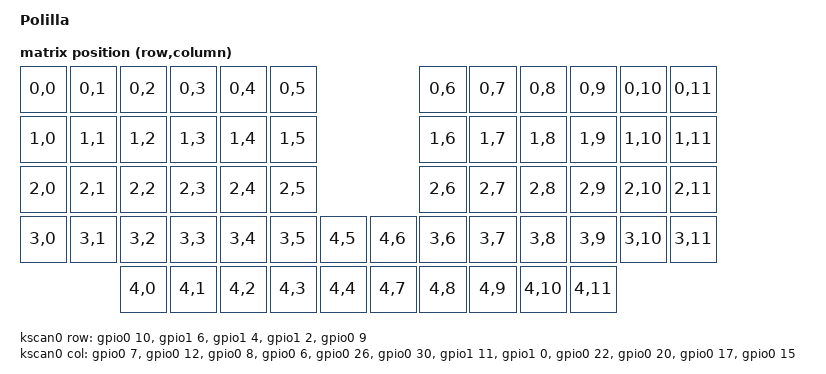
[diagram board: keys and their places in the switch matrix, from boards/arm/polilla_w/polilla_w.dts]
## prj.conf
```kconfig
CONFIG_ZMK_USB_LOGGING=y
CONFIG_LOG_BUFFER_SIZE=8192
```

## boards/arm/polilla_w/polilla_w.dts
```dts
/*
 * Copyright (c) 2020 The ZMK Contributors
 * SPDX-License-Identifier: MIT
 */

/dts-v1/;
#include <nordic/nrf52840_qiaa.dtsi>
#include <dt-bindings/zmk/matrix_transform.h>

/ {
	model = "Polilla";

	chosen {
		zephyr,code-partition = &code_partition;
		zephyr,sram = &sram0;
		zephyr,flash = &flash0;
		zmk,kscan = &kscan0;
		zmk,matrix_transform = &default_transform;
	};

	default_transform: keymap_transform_0 {
		compatible = "zmk,matrix-transform";
		columns = <12>;
		rows = <5>;
		map = <
RC(0,0) RC(0,1) RC(0,2) RC(0,3) RC(0,4) RC(0,5)                 RC(0,6) RC(0,7) RC(0,8) RC(0,9) RC(0,10) RC(0,11)
RC(1,0) RC(1,1) RC(1,2) RC(1,3) RC(1,4) RC(1,5)                 RC(1,6) RC(1,7) RC(1,8) RC(1,9) RC(1,10) RC(1,11)
RC(2,0) RC(2,1) RC(2,2) RC(2,3) RC(2,4) RC(2,5)                 RC(2,6) RC(2,7) RC(2,8) RC(2,9) RC(2,10) RC(2,11)
RC(3,0) RC(3,1) RC(3,2) RC(3,3) RC(3,4) RC(3,5) RC(4,5) RC(4,6) RC(3,6) RC(3,7) RC(3,8) RC(3,9) RC(3,10) RC(3,11)
            	RC(4,0) RC(4,1) RC(4,2) RC(4,3) RC(4,4) RC(4,7) RC(4,8) RC(4,9) RC(4,10) RC(4,11)
		>;
	};

	kscan0: kscan {
		compatible = "zmk,kscan-gpio-matrix";
		label = "KSCAN";
		diode-direction = "row2col";
		row-gpios
			= <&gpio0 10 GPIO_ACTIVE_HIGH>
			, <&gpio1 6  GPIO_ACTIVE_HIGH>
			, <&gpio1 4  GPIO_ACTIVE_HIGH>
			, <&gpio1 2  GPIO_ACTIVE_HIGH>
			, <&gpio0 9  GPIO_ACTIVE_HIGH>
			;
		col-gpios
			= <&gpio0 7  (GPIO_ACTIVE_HIGH | GPIO_PULL_DOWN)>
			, <&gpio0 12 (GPIO_ACTIVE_HIGH | GPIO_PULL_DOWN)>
			, <&gpio0 8  (GPIO_ACTIVE_HIGH | GPIO_PULL_DOWN)>
			, <&gpio0 6  (GPIO_ACTIVE_HIGH | GPIO_PULL_DOWN)>
			, <&gpio0 26 (GPIO_ACTIVE_HIGH | GPIO_PULL_DOWN)>
			, <&gpio0 30 (GPIO_ACTIVE_HIGH | GPIO_PULL_DOWN)>
			, <&gpio1 11 (GPIO_ACTIVE_HIGH | GPIO_PULL_DOWN)>
			, <&gpio1 0  (GPIO_ACTIVE_HIGH | GPIO_PULL_DOWN)>
			, <&gpio0 22 (GPIO_ACTIVE_HIGH | GPIO_PULL_DOWN)>
			, <&gpio0 20 (GPIO_ACTIVE_HIGH | GPIO_PULL_DOWN)>
			, <&gpio0 17 (GPIO_ACTIVE_HIGH | GPIO_PULL_DOWN)>
			, <&gpio0 15 (GPIO_ACTIVE_HIGH | GPIO_PULL_DOWN)>
			;
	};

	vbatt {
		compatible = "zmk,battery-voltage-divider";
		label = "BATTERY";
		io-channels = <&adc 2>;
		output-ohms = <2000000>;
		full-ohms = <(2000000 + 820000)>;
	};
};

&adc {
	status = "okay";
};

&gpiote {
	status = "okay";
};

&gpio0 {
	status = "okay";
};

&gpio1 {
	status = "okay";
};

&uart0 {
	compatible = "nordic,nrf-uarte";
	status = "okay";
	current-speed = <115200>;
	tx-pin = <19>;
	rx-pin = <21>;
	rts-pin = <23>;
	cts-pin = <25>;
};

&usbd {
	compatible = "nordic,nrf-usbd";
	status = "okay";
};


&flash0 {
	/*
	 * For more information, see:
	 * http://docs.zephyrproject.org/latest/devices/dts/flash_partitions.html
	 */
	partitions {
		compatible = "fixed-partitions";
		#address-cells = <1>;
		#size-cells = <1>;

		sd_partition: partition@0 {
			label = "softdevice";
			reg = <0x00000000 0x00026000>;
		};
		code_partition: partition@26000 {
			label = "code_partition";
			reg = <0x00026000 0x000c6000>;
		};

		/*
		 * The flash starting at 0x000ec000 and ending at
		 * 0x000f3fff is reserved for use by the application.
		 */

		/*
		 * Storage partition will be used by FCB/LittleFS/NVS
		 * if enabled.
		 */
		storage_partition: partition@ec000 {
			label = "storage";
			reg = <0x000ec000 0x00008000>;
		};

		boot_partition: partition@f4000 {
			label = "adafruit_boot";
			reg = <0x000f4000 0x0000c000>;
		};
	};
};
```

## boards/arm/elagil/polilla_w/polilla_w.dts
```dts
/*
 * Copyright (c) 2020 The ZMK Contributors
 * SPDX-License-Identifier: MIT
 */

/dts-v1/;
#include <nordic/nrf52840_qiaa.dtsi>

/ {
	model = "Polilla wireless";
	compatible = "elagil";

	chosen {
		zephyr,code-partition = &code_partition;
		zephyr,sram = &sram0;
		zephyr,flash = &flash0;
	};

	default_transform: keymap_transform_0 {
		compatible = "zmk,matrix-transform";
		columns = <12>;
		rows = <5>;
		map = <
RC(0,0) RC(0,1) RC(0,2) RC(0,3) RC(0,4) RC(0,5)                 RC(0,6) RC(0,7) RC(0,8) RC(0,9) RC(0,10) RC(0,11)
RC(1,0) RC(1,1) RC(1,2) RC(1,3) RC(1,4) RC(1,5)                 RC(1,6) RC(1,7) RC(1,8) RC(1,9) RC(1,10) RC(1,11)
RC(2,0) RC(2,1) RC(2,2) RC(2,3) RC(2,4) RC(2,5)                 RC(2,6) RC(2,7) RC(2,8) RC(2,9) RC(2,10) RC(2,11)
RC(3,0) RC(3,1) RC(3,2) RC(3,3) RC(3,4) RC(3,5) RC(4,5) RC(4,6) RC(3,6) RC(3,7) RC(3,8) RC(3,9) RC(3,10) RC(3,11)
            	RC(4,0) RC(4,1) RC(4,2) RC(4,3) RC(4,4) RC(4,7) RC(4,8) RC(4,9) RC(4,10) RC(4,11)
		>;
	};

	kscan0: kscan {
		compatible = "zmk,kscan-gpio-matrix";
		label = "KSCAN";
		diode-direction = "row2col";
		row-gpios
			= <&gpio0 9  GPIO_ACTIVE_HIGH>
			, <&gpio1 2  GPIO_ACTIVE_HIGH>
			, <&gpio1 4  GPIO_ACTIVE_HIGH>
			, <&gpio1 6  GPIO_ACTIVE_HIGH>
			, <&gpio1 10 GPIO_ACTIVE_HIGH>
			;
		col-gpios
			= <&gpio0 15 (GPIO_ACTIVE_HIGH | GPIO_PULL_DOWN)>
			, <&gpio0 17 (GPIO_ACTIVE_HIGH | GPIO_PULL_DOWN)>
			, <&gpio0 20 (GPIO_ACTIVE_HIGH | GPIO_PULL_DOWN)>
			, <&gpio0 22 (GPIO_ACTIVE_HIGH | GPIO_PULL_DOWN)>
			, <&gpio1 0  (GPIO_ACTIVE_HIGH | GPIO_PULL_DOWN)>
			, <&gpio1 11 (GPIO_ACTIVE_HIGH | GPIO_PULL_DOWN)>
			, <&gpio0 30 (GPIO_ACTIVE_HIGH | GPIO_PULL_DOWN)>
			, <&gpio0 26 (GPIO_ACTIVE_HIGH | GPIO_PULL_DOWN)>
			, <&gpio0 6  (GPIO_ACTIVE_HIGH | GPIO_PULL_DOWN)>
			, <&gpio0 8  (GPIO_ACTIVE_HIGH | GPIO_PULL_DOWN)>
			, <&gpio0 12 (GPIO_ACTIVE_HIGH | GPIO_PULL_DOWN)>
			, <&gpio0 7  (GPIO_ACTIVE_HIGH | GPIO_PULL_DOWN)>
			;
	};

	vbatt {
		compatible = "zmk,battery-voltage-divider";
		label = "BATTERY";
		io-channels = <&adc 2>;
		output-ohms = <100000>;
		full-ohms = <(100000 + 100000)>;
	};
};

&adc {
	status = "okay";
};

&gpiote {
	status = "okay";
};

&gpio0 {
	status = "okay";
};

&gpio1 {
	status = "okay";
};

&uart0 {
	compatible = "nordic,nrf-uarte";
	status = "okay";
	current-speed = <115200>;
	tx-pin = <19>;
	rx-pin = <21>;
	rts-pin = <23>;
	cts-pin = <25>;
};

&usbd {
	compatible = "nordic,nrf-usbd";
	status = "okay";
};


&flash0 {
	/*
	 * For more information, see:
	 * http://docs.zephyrproject.org/latest/devices/dts/flash_partitions.html
	 */
	partitions {
		compatible = "fixed-partitions";
		#address-cells = <1>;
		#size-cells = <1>;

		sd_partition: partition@0 {
			label = "softdevice";
			reg = <0x00000000 0x00026000>;
		};
		code_partition: partition@26000 {
			label = "code_partition";
			reg = <0x00026000 0x000c6000>;
		};

		/*
		 * The flash starting at 0x000ec000 and ending at
		 * 0x000f3fff is reserved for use by the application.
		 */

		/*
		 * Storage partition will be used by FCB/LittleFS/NVS
		 * if enabled.
		 */
		storage_partition: partition@ec000 {
			label = "storage";
			reg = <0x000ec000 0x00008000>;
		};

		boot_partition: partition@f4000 {
			label = "adafruit_boot";
			reg = <0x000f4000 0x0000c000>;
		};
	};
};
```

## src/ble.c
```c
/*
 * Copyright (c) 2020 The ZMK Contributors
 *
 * SPDX-License-Identifier: MIT
 */

#include <device.h>
#include <init.h>

#include <math.h>
#include <stdlib.h>
#include <stdio.h>

#include <settings/settings.h>
#include <bluetooth/bluetooth.h>
#include <bluetooth/conn.h>
#include <bluetooth/hci.h>
#include <bluetooth/uuid.h>
#include <bluetooth/gatt.h>
#include <bluetooth/hci_err.h>

#if IS_ENABLED(CONFIG_SETTINGS)

#include <settings/settings.h>

#endif

#include <logging/log.h>

LOG_MODULE_DECLARE(zmk, CONFIG_ZMK_LOG_LEVEL);

#include <zmk/ble.h>
#include <zmk/keys.h>
#include <zmk/split/bluetooth/uuid.h>
#include <zmk/event_manager.h>
#include <zmk/events/ble_active_profile_changed.h>

static struct bt_conn *auth_passkey_entry_conn;
static uint8_t passkey_entries[6] = {0, 0, 0, 0, 0, 0};
static uint8_t passkey_digit = 0;

#if IS_ENABLED(CONFIG_ZMK_SPLIT_BLE_ROLE_CENTRAL)
#define PROFILE_COUNT (CONFIG_BT_MAX_PAIRED - 1)
#else
#define PROFILE_COUNT CONFIG_BT_MAX_PAIRED
#endif

enum advertising_type {
    ZMK_ADV_NONE,
    ZMK_ADV_DIR,
    ZMK_ADV_CONN,
} advertising_status;

#define CURR_ADV(adv) (adv << 4)

#define ZMK_ADV_CONN_NAME                                                                          \
    BT_LE_ADV_PARAM(BT_LE_ADV_OPT_CONNECTABLE | BT_LE_ADV_OPT_ONE_TIME, BT_GAP_ADV_FAST_INT_MIN_2, \
                    BT_GAP_ADV_FAST_INT_MAX_2, NULL)

static struct zmk_ble_profile profiles[PROFILE_COUNT];
static uint8_t active_profile;

#define DEVICE_NAME CONFIG_BT_DEVICE_NAME
#define DEVICE_NAME_LEN (sizeof(DEVICE_NAME) - 1)

#define IS_HOST_PERIPHERAL                                                                         \
    (!IS_ENABLED(CONFIG_ZMK_SPLIT) || IS_ENABLED(CONFIG_ZMK_SPLIT_BLE_ROLE_CENTRAL))
#define IS_SPLIT_PERIPHERAL                                                                        \
    (IS_ENABLED(CONFIG_ZMK_SPLIT) && !IS_ENABLED(CONFIG_ZMK_SPLIT_BLE_ROLE_CENTRAL))

static const struct bt_data zmk_ble_ad[] = {
#if IS_HOST_PERIPHERAL
    BT_DATA(BT_DATA_NAME_COMPLETE, DEVICE_NAME, DEVICE_NAME_LEN),
    BT_DATA_BYTES(BT_DATA_GAP_APPEARANCE, 0xC1, 0x03),
#endif
    BT_DATA_BYTES(BT_DATA_FLAGS, (BT_LE_AD_GENERAL | BT_LE_AD_NO_BREDR)),
    BT_DATA_BYTES(BT_DATA_UUID16_SOME,
#if IS_HOST_PERIPHERAL
                  0x12, 0x18, /* HID Service */
#endif
                  0x0f, 0x18 /* Battery Service */
                  ),
#if IS_SPLIT_PERIPHERAL
    BT_DATA_BYTES(BT_DATA_UUID128_ALL, ZMK_SPLIT_BT_SERVICE_UUID)
#endif
};

#if IS_ENABLED(CONFIG_ZMK_SPLIT_BLE_ROLE_CENTRAL)

static bt_addr_le_t peripheral_addr;

#endif /* IS_ENABLED(CONFIG_ZMK_SPLIT_BLE_ROLE_CENTRAL) */

static void raise_profile_changed_event() {
    struct ble_active_profile_changed *ev = new_ble_active_profile_changed();
    ev->index = active_profile;
    ev->profile = &profiles[active_profile];

    ZMK_EVENT_RAISE(ev);
}

static void raise_profile_changed_event_callback(struct k_work *work) {
    raise_profile_changed_event();
}

K_WORK_DEFINE(raise_profile_changed_event_work, raise_profile_changed_event_callback);

bool zmk_ble_active_profile_is_open() {
    return !bt_addr_le_cmp(&profiles[active_profile].peer, BT_ADDR_LE_ANY);
}

void set_profile_address(uint8_t index, const bt_addr_le_t *addr) {
    char setting_name[15];
    char addr_str[BT_ADDR_LE_STR_LEN];

    bt_addr_le_to_str(addr, addr_str, sizeof(addr_str));

    memcpy(&profiles[index].peer, addr, sizeof(bt_addr_le_t));
    sprintf(setting_name, "ble/profiles/%d", index);
    LOG_DBG("Setting profile addr for %s to %s", log_strdup(setting_name), log_strdup(addr_str));
    settings_save_one(setting_name, &profiles[index], sizeof(struct zmk_ble_profile));
    k_work_submit(&raise_profile_changed_event_work);
}

bool zmk_ble_active_profile_is_connected() {
    struct bt_conn *conn;
    bt_addr_le_t *addr = zmk_ble_active_profile_addr();
    if (!bt_addr_le_cmp(addr, BT_ADDR_LE_ANY)) {
        return false;
    } else if ((conn = bt_conn_lookup_addr_le(BT_ID_DEFAULT, addr)) == NULL) {
        return false;
    }

    bt_conn_unref(conn);

    return true;
}

#define CHECKED_ADV_STOP()                                                                         \
    err = bt_le_adv_stop();                                                                        \
    advertising_status = ZMK_ADV_NONE;                                                             \
    if (err) {                                                                                     \
        LOG_ERR("Failed to stop advertising (err %d)", err);                                       \
        return err;                                                                                \
    }

#define CHECKED_DIR_ADV()                                                                          \
    addr = zmk_ble_active_profile_addr();                                                          \
    conn = bt_conn_lookup_addr_le(BT_ID_DEFAULT, addr);                                            \
    if (conn != NULL) { /* TODO: Check status of connection */                                     \
        LOG_DBG("Skipping advertising, profile host is already connected");                        \
        bt_conn_unref(conn);                                                                       \
        return 0;                                                                                  \
    }                                                                                              \
    err = bt_le_adv_start(BT_LE_ADV_CONN_DIR_LOW_DUTY(addr), zmk_ble_ad, ARRAY_SIZE(zmk_ble_ad),   \
                          NULL, 0);                                                                \
    if (err) {                                                                                     \
        LOG_ERR("Advertising failed to start (err %d)", err);                                      \
        return err;                                                                                \
    }                                                                                              \
    advertising_status = ZMK_ADV_DIR;

#define CHECKED_OPEN_ADV()                                                                         \
    err = bt_le_adv_start(ZMK_ADV_CONN_NAME, zmk_ble_ad, ARRAY_SIZE(zmk_ble_ad), NULL, 0);         \
    if (err) {                                                                                     \
        LOG_ERR("Advertising failed to start (err %d)", err);                                      \
        return err;                                                                                \
    }                                                                                              \
    advertising_status = ZMK_ADV_CONN;

int update_advertising() {
    int err = 0;
    bt_addr_le_t *addr;
    struct bt_conn *conn;
    enum advertising_type desired_adv = ZMK_ADV_NONE;

    if (zmk_ble_active_profile_is_open()) {
        desired_adv = ZMK_ADV_CONN;
    } else if (!zmk_ble_active_profile_is_connected()) {
        desired_adv = ZMK_ADV_CONN;
        // Need to fix directed advertising for privacy centrals. See
        // https://github.com/zephyrproject-rtos/zephyr/pull/14984 char
        // addr_str[BT_ADDR_LE_STR_LEN]; bt_addr_le_to_str(zmk_ble_active_profile_addr(), addr_str,
        // sizeof(addr_str));

        // LOG_DBG("Directed advertising to %s", log_strdup(addr_str));
        // desired_adv = ZMK_ADV_DIR;
    }
    LOG_DBG("advertising from %d to %d", advertising_status, desired_adv);

    switch (desired_adv + CURR_ADV(advertising_status)) {
    case ZMK_ADV_NONE + CURR_ADV(ZMK_ADV_DIR):
    case ZMK_ADV_NONE + CURR_ADV(ZMK_ADV_CONN):
        CHECKED_ADV_STOP();
        break;
    case ZMK_ADV_DIR + CURR_ADV(ZMK_ADV_DIR):
    case ZMK_ADV_DIR + CURR_ADV(ZMK_ADV_CONN):
        CHECKED_ADV_STOP();
        CHECKED_DIR_ADV();
        break;
    case ZMK_ADV_DIR + CURR_ADV(ZMK_ADV_NONE):
        CHECKED_DIR_ADV();
        break;
    case ZMK_ADV_CONN + CURR_ADV(ZMK_ADV_DIR):
        CHECKED_ADV_STOP();
        CHECKED_OPEN_ADV();
        break;
    case ZMK_ADV_CONN + CURR_ADV(ZMK_ADV_NONE):
        CHECKED_OPEN_ADV();
        break;
    }

    return 0;
};

static void update_advertising_callback(struct k_work *work) { update_advertising(); }

K_WORK_DEFINE(update_advertising_work, update_advertising_callback);

int zmk_ble_clear_bonds() {
    LOG_DBG("");

    if (bt_addr_le_cmp(&profiles[active_profile].peer, BT_ADDR_LE_ANY)) {
        LOG_DBG("Unpairing!");
        bt_unpair(BT_ID_DEFAULT, &profiles[active_profile].peer);
        set_profile_address(active_profile, BT_ADDR_LE_ANY);
    }

    update_advertising();

    return 0;
};

int zmk_ble_active_profile_index() { return active_profile; }

#if IS_ENABLED(CONFIG_SETTINGS)
static void ble_save_profile_work(struct k_work *work) {
    settings_save_one("ble/active_profile", &active_profile, sizeof(active_profile));
}

static struct k_delayed_work ble_save_work;
#endif

static int ble_save_profile() {
#if IS_ENABLED(CONFIG_SETTINGS)
    k_delayed_work_cancel(&ble_save_work);
    return k_delayed_work_submit(&ble_save_work, K_MSEC(CONFIG_ZMK_SETTINGS_SAVE_DEBOUNCE));
#else
    return 0;
#endif
}

int zmk_ble_prof_select(uint8_t index) {
    LOG_DBG("profile %d", index);
    if (active_profile == index) {
        return 0;
    }

    active_profile = index;
    ble_save_profile();

    update_advertising();

    raise_profile_changed_event();

    return 0;
};

int zmk_ble_prof_next() {
    LOG_DBG("");
    return zmk_ble_prof_select((active_profile + 1) % PROFILE_COUNT);
};

int zmk_ble_prof_prev() {
    LOG_DBG("");
    return zmk_ble_prof_select((active_profile + PROFILE_COUNT - 1) % PROFILE_COUNT);
};

bt_addr_le_t *zmk_ble_active_profile_addr() { return &profiles[active_profile].peer; }

char *zmk_ble_active_profile_name() { return profiles[active_profile].name; }

#if IS_ENABLED(CONFIG_ZMK_SPLIT_BLE_ROLE_CENTRAL)

void zmk_ble_set_peripheral_addr(bt_addr_le_t *addr) {
    memcpy(&peripheral_addr, addr, sizeof(bt_addr_le_t));
    settings_save_one("ble/peripheral_address", addr, sizeof(bt_addr_le_t));
}

#endif /* IS_ENABLED(CONFIG_ZMK_SPLIT_BLE_ROLE_CENTRAL) */

#if IS_ENABLED(CONFIG_SETTINGS)

static int ble_profiles_handle_set(const char *name, size_t len, settings_read_cb read_cb,
                                   void *cb_arg) {
    const char *next;

    LOG_DBG("Setting BLE value %s", log_strdup(name));

    if (settings_name_steq(name, "profiles", &next) && next) {
        char *endptr;
        uint8_t idx = strtoul(next, &endptr, 10);
        if (*endptr != '\0') {
            LOG_WRN("Invalid profile index: %s", log_strdup(next));
            return -EINVAL;
        }

        if (len != sizeof(struct zmk_ble_profile)) {
            LOG_ERR("Invalid profile size (got %d expected %d)", len,
                    sizeof(struct zmk_ble_profile));
            return -EINVAL;
        }

        if (idx >= PROFILE_COUNT) {
            LOG_WRN("Profile address for index %d is larger than max of %d", idx, PROFILE_COUNT);
            return -EINVAL;
        }

        int err = read_cb(cb_arg, &profiles[idx], sizeof(struct zmk_ble_profile));
        if (err <= 0) {
            LOG_ERR("Failed to handle profile address from settings (err %d)", err);
            return err;
        }

        char addr_str[BT_ADDR_LE_STR_LEN];
        bt_addr_le_to_str(&profiles[idx].peer, addr_str, sizeof(addr_str));

        LOG_DBG("Loaded %s address for profile %d", log_strdup(addr_str), idx);
    } else if (settings_name_steq(name, "active_profile", &next) && !next) {
        if (len != sizeof(active_profile)) {
            return -EINVAL;
        }

        int err = read_cb(cb_arg, &active_profile, sizeof(active_profile));
        if (err <= 0) {
            LOG_ERR("Failed to handle active profile from settings (err %d)", err);
            return err;
        }
    }
#if IS_ENABLED(CONFIG_ZMK_SPLIT_BLE_ROLE_CENTRAL)
    else if (settings_name_steq(name, "peripheral_address", &next) && !next) {
        if (len != sizeof(bt_addr_le_t)) {
            return -EINVAL;
        }

        int err = read_cb(cb_arg, &peripheral_addr, sizeof(bt_addr_le_t));
        if (err <= 0) {
            LOG_ERR("Failed to handle peripheral address from settings (err %d)", err);
            return err;
        }
    }
#endif

    return 0;
};

struct settings_handler profiles_handler = {.name = "ble", .h_set = ble_profiles_handle_set};
#endif /* IS_ENABLED(CONFIG_SETTINGS) */

static bool is_conn_active_profile(const struct bt_conn *conn) {
    return bt_addr_le_cmp(bt_conn_get_dst(conn), &profiles[active_profile].peer) == 0;
}

static void connected(struct bt_conn *conn, uint8_t err) {
    char addr[BT_ADDR_LE_STR_LEN];
    bt_addr_le_to_str(bt_conn_get_dst(conn), addr, sizeof(addr));
    LOG_DBG("Connected thread: %p", k_current_get());

    advertising_status = ZMK_ADV_NONE;

    if (err) {
        LOG_WRN("Failed to connect to %s (%u)", log_strdup(addr), err);
        update_advertising();
        return;
    }

    LOG_DBG("Connected %s", log_strdup(addr));

    err = bt_conn_le_param_update(conn, BT_LE_CONN_PARAM(0x0006, 0x000c, 30, 400));
    if (err) {
        LOG_WRN("Failed to update LE parameters (err %d)", err);
    }

#if IS_SPLIT_PERIPHERAL
    bt_conn_le_phy_update(conn, BT_CONN_LE_PHY_PARAM_2M);
#endif

    if (bt_conn_set_security(conn, BT_SECURITY_L2)) {
        LOG_ERR("Failed to set security");
    }

    update_advertising();

    if (is_conn_active_profile(conn)) {
        LOG_DBG("Active profile connected");
        k_work_submit(&raise_profile_changed_event_work);
    }
}

static void disconnected(struct bt_conn *conn, uint8_t reason) {
    char addr[BT_ADDR_LE_STR_LEN];

    bt_addr_le_to_str(bt_conn_get_dst(conn), addr, sizeof(addr));

    LOG_DBG("Disconnected from %s (reason 0x%02x)", log_strdup(addr), reason);

    // We need to do this in a work callback, otherwise the advertising update will still see the
    // connection for a profile as active, and not start advertising yet.
    k_work_submit(&update_advertising_work);

    if (is_conn_active_profile(conn)) {
        LOG_DBG("Active profile disconnected");
        k_work_submit(&raise_profile_changed_event_work);
    }
}

static void security_changed(struct bt_conn *conn, bt_security_t level, enum bt_security_err err) {
    char addr[BT_ADDR_LE_STR_LEN];

    bt_addr_le_to_str(bt_conn_get_dst(conn), addr, sizeof(addr));

    if (!err) {
        LOG_DBG("Security changed: %s level %u", log_strdup(addr), level);
    } else {
        LOG_ERR("Security failed: %s level %u err %d", log_strdup(addr), level, err);
    }
}

static void le_param_updated(struct bt_conn *conn, uint16_t interval, uint16_t latency,
                             uint16_t timeout) {
    char addr[BT_ADDR_LE_STR_LEN];

    bt_addr_le_to_str(bt_conn_get_dst(conn), addr, sizeof(addr));

    LOG_DBG("%s: interval %d latency %d timeout %d", addr, interval, latency, timeout);
}

static struct bt_conn_cb conn_callbacks = {
    .connected = connected,
    .disconnected = disconnected,
    .security_changed = security_changed,
    .le_param_updated = le_param_updated,
};

/*
static void auth_passkey_display(struct bt_conn *conn, unsigned int passkey) {
    char addr[BT_ADDR_LE_STR_LEN];

    bt_addr_le_to_str(bt_conn_get_dst(conn), addr, sizeof(addr));

    LOG_DBG("Passkey for %s: %06u", log_strdup(addr), passkey);
}
*/

#ifdef CONFIG_ZMK_BLE_PASSKEY_ENTRY

static void auth_passkey_entry(struct bt_conn *conn) {
    char addr[BT_ADDR_LE_STR_LEN];

    bt_addr_le_to_str(bt_conn_get_dst(conn), addr, sizeof(addr));

    LOG_DBG("Passkey entry requested for %s", log_strdup(addr));
    auth_passkey_entry_conn = bt_conn_ref(conn);
}

#endif

static void auth_cancel(struct bt_conn *conn) {
    char addr[BT_ADDR_LE_STR_LEN];

    bt_addr_le_to_str(bt_conn_get_dst(conn), addr, sizeof(addr));

    if (auth_passkey_entry_conn) {
        bt_conn_unref(auth_passkey_entry_conn);
        auth_passkey_entry_conn = NULL;
    }

    passkey_digit = 0;

    LOG_DBG("Pairing cancelled: %s", log_strdup(addr));
}

#if IS_HOST_PERIPHERAL
static enum bt_security_err auth_pairing_accept(struct bt_conn *conn,
                                                const struct bt_conn_pairing_feat *const feat) {
    struct bt_conn_info info;
    bt_conn_get_info(conn, &info);

    LOG_DBG("role %d, open? %s", info.role, zmk_ble_active_profile_is_open() ? "yes" : "no");
    if (info.role == BT_CONN_ROLE_SLAVE && !zmk_ble_active_profile_is_open()) {
        LOG_WRN("Rejecting pairing request to taken profile %d", active_profile);
        return BT_SECURITY_ERR_PAIR_NOT_ALLOWED;
    }

    return BT_SECURITY_ERR_SUCCESS;
};
#endif /* IS_HOST_PERIPHERAL */

static void auth_pairing_complete(struct bt_conn *conn, bool bonded) {
    struct bt_conn_info info;
    char addr[BT_ADDR_LE_STR_LEN];
    const bt_addr_le_t *dst = bt_conn_get_dst(conn);

    bt_addr_le_to_str(dst, addr, sizeof(addr));
    bt_conn_get_info(conn, &info);

    if (info.role != BT_CONN_ROLE_SLAVE) {
        LOG_DBG("SKIPPING FOR ROLE %d", info.role);
        return;
    }

#if IS_HOST_PERIPHERAL
    if (!zmk_ble_active_profile_is_open()) {
        LOG_ERR("Pairing completed but current profile is not open: %s", log_strdup(addr));
        bt_unpair(BT_ID_DEFAULT, dst);
        return;
    }
#endif /* IS_HOST_PERIPHERAL */

    set_profile_address(active_profile, dst);
    update_advertising();
};

static struct bt_conn_auth_cb zmk_ble_auth_cb_display = {
#if IS_HOST_PERIPHERAL
    .pairing_accept = auth_pairing_accept,
#endif /* IS_HOST_PERIPHERAL */
    .pairing_complete = auth_pairing_complete,
// .passkey_display = auth_passkey_display,

#ifdef CONFIG_ZMK_BLE_PASSKEY_ENTRY
    .passkey_entry = auth_passkey_entry,
#endif
    .cancel = auth_cancel,
};

static void zmk_ble_ready(int err) {
    LOG_DBG("ready? %d", err);
    if (err) {
        LOG_ERR("Bluetooth init failed (err %d)", err);
        return;
    }

    update_advertising();
}

static int zmk_ble_init(const struct device *_arg) {
    int err = bt_enable(NULL);

    if (err) {
        LOG_ERR("BLUETOOTH FAILED (%d)", err);
        return err;
    }

#if IS_ENABLED(CONFIG_SETTINGS)
    settings_subsys_init();

    err = settings_register(&profiles_handler);
    if (err) {
        LOG_ERR("Failed to setup the profile settings handler (err %d)", err);
        return err;
    }

    k_delayed_work_init(&ble_save_work, ble_save_profile_work);

    settings_load_subtree("ble");
    settings_load_subtree("bt");

#endif

#if IS_ENABLED(CONFIG_ZMK_BLE_CLEAR_BONDS_ON_START)
    LOG_WRN("Clearing all existing BLE bond information from the keyboard");

    for (int i = 0; i < 10; i++) {
        bt_unpair(i, NULL);
    }

    for (int i = 0; i < PROFILE_COUNT; i++) {
        char setting_name[15];
        sprintf(setting_name, "ble/profiles/%d", i);

        err = settings_delete(setting_name);
        if (err) {
            LOG_ERR("Failed to delete setting: %d", err);
        }
    }
#endif

    bt_conn_cb_register(&conn_callbacks);
    bt_conn_auth_cb_register(&zmk_ble_auth_cb_display);

    zmk_ble_ready(0);

    return 0;
}

int zmk_ble_disconnect() {
    LOG_DBG("");

    for(uint8_t profile_index = 0; profile_index < PROFILE_COUNT; profile_index++)
    {
        struct zmk_ble_profile * profile = &profiles[profile_index];

        if (bt_addr_le_cmp(&(profile->peer), BT_ADDR_LE_ANY)) {
            LOG_DBG("Disconnecting profile %d!", profile_index);

            struct bt_conn *conn = bt_conn_lookup_addr_le(BT_ID_DEFAULT, &(profile->peer));
            bt_conn_disconnect(conn, BT_HCI_ERR_REMOTE_USER_TERM_CONN);
        }
    }

    return 0;
}

int zmk_ble_unpair_all() {
    int resp = 0;
    for (int i = BT_ID_DEFAULT; i < CONFIG_BT_ID_MAX; i++) {

        int err = bt_unpair(BT_ID_DEFAULT, NULL);
        if (err) {
            resp = err;
            LOG_ERR("Failed to unpair devices (err %d)", err);
        }
    }

    return resp;
};

bool zmk_ble_handle_key_user(struct zmk_key_event *key_event) {
    zmk_key_t key = key_event->key;

    if (!auth_passkey_entry_conn) {
        return true;
    }

    if (key < NUMBER_1 || key > NUMBER_0) {
        return true;
    }

    uint32_t val = (key == NUMBER_0) ? 0 : (key - NUMBER_1 + 1);

    passkey_entries[passkey_digit++] = val;

    if (passkey_digit == 6) {
        uint32_t passkey = 0;
        for (int i = 5; i >= 0; i--) {
            passkey = (passkey * 10) + val;
        }
        bt_conn_auth_passkey_entry(auth_passkey_entry_conn, passkey);
        bt_conn_unref(auth_passkey_entry_conn);
        auth_passkey_entry_conn = NULL;
    }

    return false;
}

SYS_INIT(zmk_ble_init, APPLICATION, CONFIG_ZMK_BLE_INIT_PRIORITY);
```
